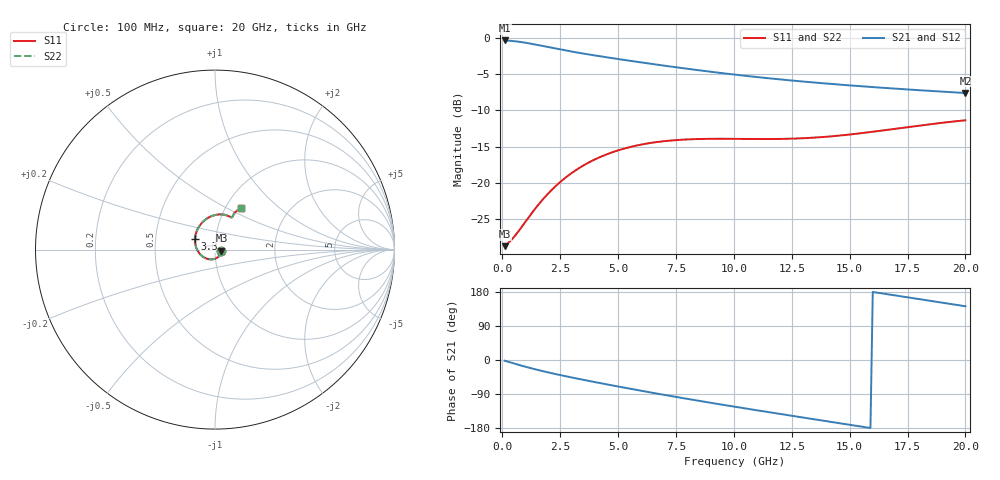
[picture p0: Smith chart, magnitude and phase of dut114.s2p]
! Created with skrf 1.9.0 (http://scikit-rf.org).
# GHz S RI R 50.0
!freq ReS11 ImS11 ReS21 ImS21 ReS12 ImS12 ReS22 ImS22
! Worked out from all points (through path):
!   200 points, 100 MHz to 20 GHz, reference 50 ohm
!   highest |S21| = -0.33 dB at 100 MHz (marker M1); lowest = -7.6 dB at 20 GHz (marker M2)
!   group delay of S21, straight-line fit = 28.9 ps
!   lowest |S11| = -28.7 dB at 100 MHz (marker M3), VSWR 1.08, Z = 53.7 - j0.727 ohm
!   |S11| at or under -10 dB: start of sweep to end of sweep
!   |S22| runs from -28.7 to -11.4 dB; largest |S21 - S12| = 1.9e-15
!   S11 on the Smith chart (normalised r, x): 100 MHz: 1.07, -0.01; 3.3 GHz: 0.79, +0.10; 20 GHz: 1.18, +0.58
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0.1  0.0359 -0.00676  0.9627 -0.0318  0.9627 -0.0318  0.0359 -0.00676
0.5  0.0245 -0.0344  0.941 -0.1517  0.941 -0.1517  0.0245 -0.0344
0.9  -0.000985 -0.0512  0.8979 -0.2597  0.8979 -0.2597  -0.000985 -0.0512
1.2  -0.0242 -0.0545  0.8558 -0.3296  0.8558 -0.3296  -0.0242 -0.0545
1.6  -0.0546 -0.0469  0.7925 -0.408  0.7925 -0.408  -0.0546 -0.0469
2  -0.08 -0.0288  0.7258 -0.4715  0.7258 -0.4715  -0.08 -0.0288
2.4  -0.098 -0.00406  0.6585 -0.5228  0.6585 -0.5228  -0.098 -0.00406
3.3  -0.1114 0.059  0.51 -0.6054  0.51 -0.6054  -0.1114 0.059
3.5  -0.11 0.0726  0.4777 -0.6188  0.4777 -0.6188  -0.11 0.0726
4.3  -0.0935 0.1206  0.3515 -0.6575  0.3515 -0.6575  -0.0935 0.1206
5.1  -0.066 0.1562  0.2308 -0.6745  0.2308 -0.6745  -0.066 0.1562
5.9  -0.0344 0.1793  0.1173 -0.6727  0.1173 -0.6727  -0.0344 0.1793
6.8  0.000214 0.1926  0.000475 -0.6515  0.000475 -0.6515  0.000214 0.1926
8.4  0.0489 0.1947  -0.174 -0.5764  -0.174 -0.5764  0.0489 0.1947
9.2  0.0655 0.1907  -0.2446 -0.5261  -0.2446 -0.5261  0.0655 0.1907
10.1  0.0786 0.1854  -0.3113 -0.4631  -0.3113 -0.4631  0.0786 0.1854
11.7  0.0908 0.1792  -0.3985 -0.3402  -0.3985 -0.3402  0.0908 0.1792
13.4  0.0959 0.1812  -0.4509 -0.2028  -0.4509 -0.2028  0.0959 0.1812
15  0.1006 0.1909  -0.4655 -0.0741  -0.4655 -0.0741  0.1006 0.1909
16.7  0.1102 0.2056  -0.4472 0.0551  -0.4472 0.0551  0.1102 0.2056
18.3  0.1247 0.2192  -0.4016 0.1634  -0.4016 0.1634  0.1247 0.2192
20  0.1437 0.2292  -0.3282 0.2582  -0.3282 0.2582  0.1437 0.2292
